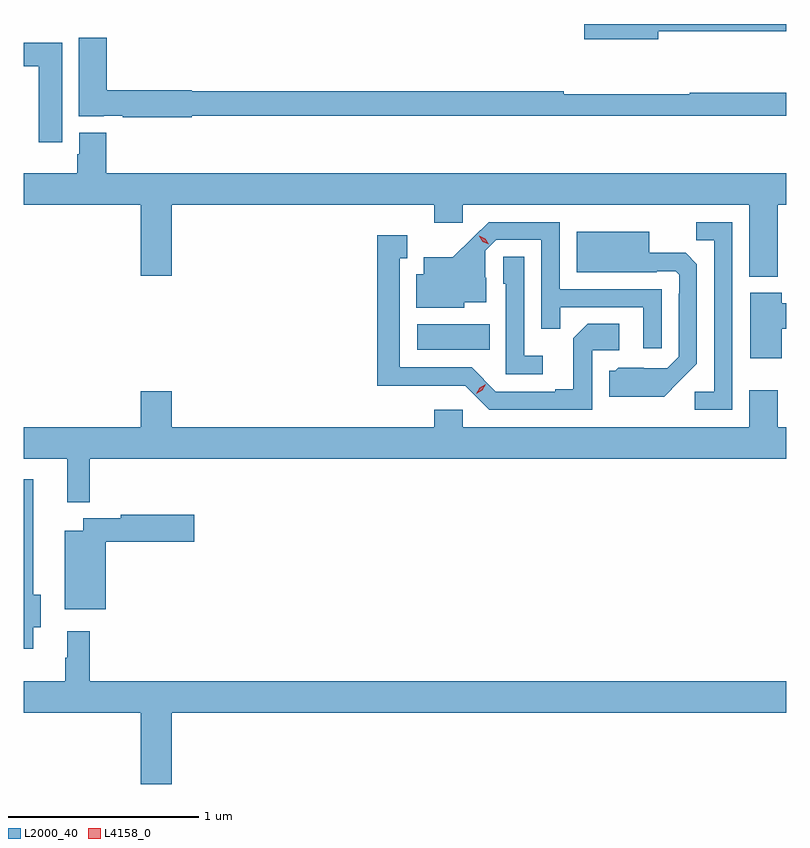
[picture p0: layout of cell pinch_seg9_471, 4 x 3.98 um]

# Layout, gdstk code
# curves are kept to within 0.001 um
import gdstk
lib = gdstk.Library(unit=1e-6, precision=1e-09)
def R(c, l, rs):  # rectangles x0, y0, x1, y1
    for r in rs: c.add(gdstk.rectangle(r[:2], r[2:], *l))
def P(c, l, *ps):  # polygons
    for p in ps: c.add(gdstk.Polygon(p, *l))
L2000_40 = (2000, 40)
L4158_0 = (4158, 0)

pinch_seg9_471 = lib.new_cell('pinch_seg9_471')
R(pinch_seg9_471, L2000_40, [(298.326,1195.658,298.706,1195.792)])
P(pinch_seg9_471, L2000_40, [(299.59,1197.33),(300.262,1197.33),(300.262,1197.367),(299.202,1197.367),(299.202,1197.287),(299.59,1197.287)],
  [(297.144,1196.886),(300.262,1196.886),(300.262,1197.007),(299.755,1197.007),(299.755,1196.999),(299.095,1196.999),(299.095,1197.014),(297.144,1197.014),(297.144,1197.02),(296.699,1197.02),(296.699,1197.296),(296.552,1197.296),(296.552,1196.882),(296.682,1196.882),(296.682,1196.885),(296.782,1196.885),(296.782,1196.878),(297.144,1196.878)],
  [(296.464,1197.268),(296.262,1197.268),(296.262,1197.146),(296.342,1197.146),(296.342,1196.748),(296.464,1196.748)],
  [(296.696,1196.797),(296.555,1196.797),(296.555,1196.685),(296.543,1196.685),(296.543,1196.584),(296.262,1196.584),(296.262,1196.42),(296.876,1196.42),(296.876,1196.046),(297.04,1196.046),(297.04,1196.42),(298.415,1196.42),(298.415,1196.325),(298.566,1196.325),(298.566,1196.42),(300.068,1196.42),(300.068,1196.042),(300.216,1196.042),(300.216,1196.42),(300.262,1196.42),(300.262,1196.584),(296.696,1196.584)],
  [(299.607,1195.977),(299.073,1195.977),(299.073,1196.328),(298.7,1196.328),(298.513,1196.143),(298.361,1196.143),(298.361,1196.056),(298.322,1196.056),(298.322,1195.88),(298.572,1195.88),(298.572,1195.907),(298.687,1195.907),(298.687,1196.036),(298.683,1196.036),(298.683,1196.178),(298.74,1196.235),(298.977,1196.235),(298.977,1195.768),(299.075,1195.768),(299.075,1195.881),(299.511,1195.881),(299.511,1195.668),(299.607,1195.668)],
  [(299.979,1196.328),(299.788,1196.328),(299.788,1196.233),(299.883,1196.233),(299.883,1195.44),(299.781,1195.44),(299.781,1195.344),(299.979,1195.344)],
  [(299.701,1195.493),(299.793,1195.586),(299.793,1196.108),(299.734,1196.167),(299.542,1196.167),(299.542,1196.278),(299.162,1196.278),(299.162,1196.066),(299.582,1196.066),(299.582,1196.07),(299.682,1196.07),(299.7,1196.052),(299.7,1195.952),(299.697,1195.952),(299.697,1195.623),(299.637,1195.563),(299.38,1195.564),(299.364,1195.548),(299.333,1195.548),(299.333,1195.412),(299.621,1195.412)],
  [(299.244,1195.656),(299.386,1195.656),(299.386,1195.796),(299.221,1195.796),(299.145,1195.72),(299.145,1195.453),(299.051,1195.453),(299.051,1195.44),(298.737,1195.44),(298.611,1195.566),(298.234,1195.566),(298.234,1196.139),(298.273,1196.139),(298.273,1196.26),(298.116,1196.26),(298.116,1195.469),(298.578,1195.47),(298.704,1195.344),(299.244,1195.344)],
  [(298.984,1195.627),(298.887,1195.627),(298.887,1196.147),(298.776,1196.147),(298.776,1196.004),(298.791,1196.004),(298.791,1195.53),(298.984,1195.53)],
  [(300.238,1195.768),(300.262,1195.768),(300.262,1195.904),(300.238,1195.904),(300.238,1195.957),(300.071,1195.957),(300.071,1195.614),(300.238,1195.614)],
  [(296.609,1195.088),(300.262,1195.088),(300.262,1195.252),(300.216,1195.252),(300.216,1195.447),(300.068,1195.447),(300.068,1195.252),(298.566,1195.252),(298.566,1195.345),(298.415,1195.345),(298.415,1195.252),(297.04,1195.252),(297.04,1195.441),(296.876,1195.441),(296.876,1195.252),(296.262,1195.252),(296.262,1195.088),(296.492,1195.088),(296.492,1194.86),(296.609,1194.86)],
  [(296.314,1194.203),(296.353,1194.203),(296.353,1194.374),(296.314,1194.374),(296.314,1194.979),(296.262,1194.979),(296.262,1194.092),(296.314,1194.092)],
  [(296.692,1194.653),(297.157,1194.653),(297.157,1194.795),(296.772,1194.795),(296.772,1194.775),(296.576,1194.775),(296.576,1194.709),(296.477,1194.709),(296.477,1194.299),(296.692,1194.299)],
  [(297.04,1193.756),(300.262,1193.756),(300.262,1193.92),(296.609,1193.92),(296.609,1194.184),(296.492,1194.184),(296.492,1194.044),(296.481,1194.044),(296.481,1193.92),(296.262,1193.92),(296.262,1193.756),(296.876,1193.756),(296.876,1193.382),(297.04,1193.382)])
P(pinch_seg9_471, L4158_0, [(298.7,1196.211),(298.669,1196.226),(298.651,1196.255),(298.651,1196.256),(298.651,1196.256),(298.682,1196.241),(298.7,1196.212),(298.7,1196.211)],
  [(298.636,1195.427),(298.636,1195.427),(298.653,1195.46),(298.685,1195.479),(298.685,1195.479),(298.685,1195.478),(298.668,1195.446),(298.636,1195.427)])

lib.write_gds('pinch_seg9_471.gds')
